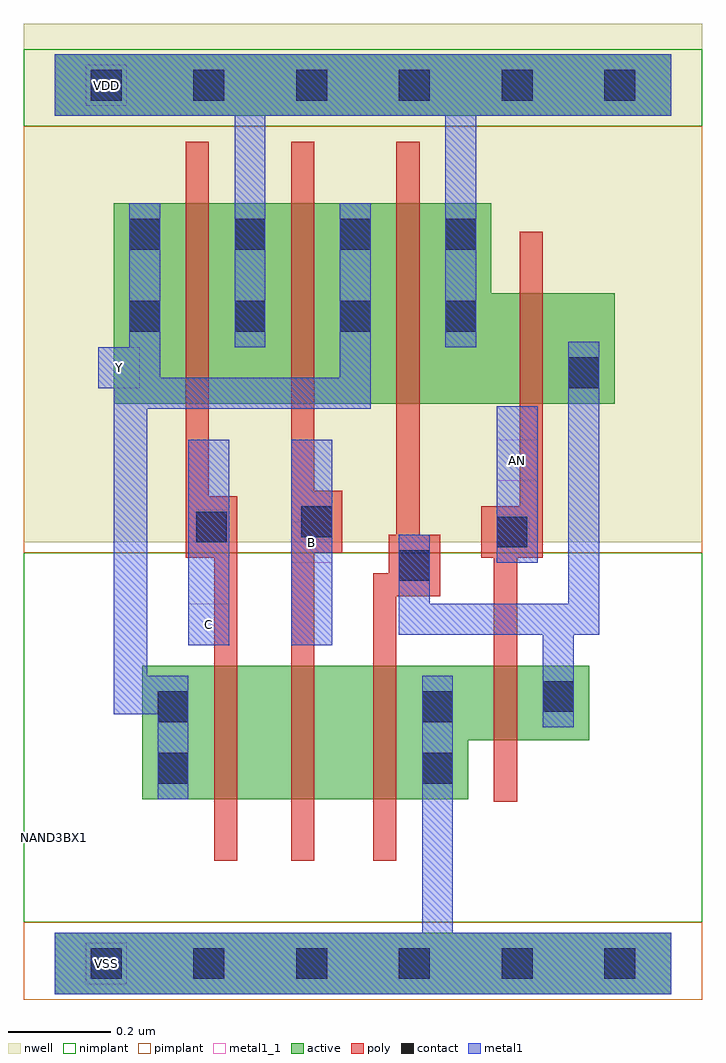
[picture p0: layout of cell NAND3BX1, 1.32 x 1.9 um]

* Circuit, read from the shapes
.subckt NAND3BX1 AN B C VDD VSS Y
M1 n1 C Y VSS nfet w=0.26u l=0.045u
M2 n2 B n1 VSS nfet w=0.26u l=0.045u
M3 VSS n3 n2 VSS nfet w=0.26u l=0.045u
M4 n3 AN VSS VSS nfet w=0.145u l=0.045u
M5 VDD C Y VDD pfet w=0.39u l=0.045u
M6 Y B VDD VDD pfet w=0.39u l=0.045u
M7 VDD n3 Y VDD pfet w=0.39u l=0.045u
M8 n3 AN VDD VDD pfet w=0.215u l=0.045u
.ends

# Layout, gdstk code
import gdstk
lib = gdstk.Library(unit=1e-6, precision=5e-10)
def R(c, l, rs):  # rectangles x0, y0, x1, y1
    for r in rs: c.add(gdstk.rectangle(r[:2], r[2:], *l))
def A(c, l, x, y, w, h, nx, ny, dx, dy):  # array of equal rectangles
    R(c, l, [(x+i*dx, y+j*dy, x+i*dx+w, y+j*dy+h) for i in range(nx) for j in range(ny)])
def P(c, l, *ps):  # polygons
    for p in ps: c.add(gdstk.Polygon(p, *l))
active = (1, 0)
nwell = (2, 0)
poly = (3, 0)
nimplant = (4, 0)
pimplant = (5, 0)
contact = (6, 0)
metal1 = (7, 0)
metal1_1 = (7, 1)

nand3bx1 = lib.new_cell('NAND3BX1')
R(nand3bx1, active, [(0,-0.06,1.2,0.06), (0,1.65,1.2,1.77)])
P(nand3bx1, active, [(1.09,1.305),(0.85,1.305),(0.85,1.48),(0.115,1.48),(0.115,1.09),(1.09,1.09)],
  [(1.04,0.58),(0.17,0.58),(0.17,0.32),(0.805,0.32),(0.805,0.435),(1.04,0.435)])
R(nand3bx1, nwell, [(-0.06,0.82,1.26,1.83)])
P(nand3bx1, poly, [(0.95,1.425),(0.905,1.425),(0.905,0.89),(0.83,0.89),(0.83,0.79),(0.855,0.79),(0.855,0.315),(0.9,0.315),(0.9,0.79),(0.95,0.79)],
  [(0.75,0.835),(0.71,0.835),(0.71,1.6),(0.665,1.6),(0.665,0.835),(0.65,0.835),(0.65,0.76),(0.62,0.76),(0.62,0.2),(0.665,0.2),(0.665,0.715),(0.75,0.715)],
  [(0.56,0.92),(0.505,0.92),(0.505,1.6),(0.46,1.6),(0.46,0.2),(0.505,0.2),(0.505,0.8),(0.56,0.8)],
  [(0.355,0.91),(0.3,0.91),(0.3,1.6),(0.255,1.6),(0.255,0.79),(0.31,0.79),(0.31,0.2),(0.355,0.2)])
R(nand3bx1, nimplant, [(-0.06,0.08,1.26,0.8), (-0.06,1.63,1.26,1.78)])
R(nand3bx1, pimplant, [(-0.06,-0.07,1.26,0.08), (-0.06,0.8,1.26,1.63)])
A(nand3bx1, contact, 0.07, -0.03, 0.06, 0.06, 6, 2, 0.2, 1.71)
A(nand3bx1, contact, 0.145, 1.23, 0.06, 0.06, 4, 2, 0.205, 0.16)
R(nand3bx1, contact, [(0.2,0.35,0.26,0.41), (0.715,0.35,0.775,0.41), (0.2,0.47,0.26,0.53), (0.715,0.47,0.775,0.53), (0.95,0.49,1.01,0.55), (0.67,0.745,0.73,0.805), (0.86,0.81,0.92,0.87), (0.275,0.82,0.335,0.88), (0.48,0.83,0.54,0.89), (1,1.12,1.06,1.18)])
R(nand3bx1, metal1, [(0.26,0.62,0.34,1.02), (0.46,0.62,0.54,1.02), (0.86,0.78,0.94,1.085)])
P(nand3bx1, metal1, [(1.2,0.06),(0.775,0.06),(0.775,0.56),(0.715,0.56),(0.715,0.06),(0,0.06),(0,-0.06),(1.2,-0.06)],
  [(1.2,1.77),(0,1.77),(0,1.65),(0.35,1.65),(0.35,1.2),(0.41,1.2),(0.41,1.65),(0.76,1.65),(0.76,1.2),(0.82,1.2),(0.82,1.65),(1.2,1.65)],
  [(1.06,1.21),(1,1.21),(1,0.7),(0.73,0.7),(0.73,0.835),(0.67,0.835),(0.67,0.64),(0.95,0.64),(0.95,0.46),(1.01,0.46),(1.01,0.64),(1.06,0.64)],
  [(0.615,1.48),(0.555,1.48),(0.555,1.14),(0.205,1.14),(0.205,1.48),(0.145,1.48),(0.145,1.2),(0.085,1.2),(0.085,1.12),(0.115,1.12),(0.115,0.485),(0.2,0.485),(0.2,0.32),(0.26,0.32),(0.26,0.56),(0.18,0.56),(0.18,1.08),(0.615,1.08)])
R(nand3bx1, metal1_1, [(0.06,-0.04,0.14,0.04), (0.26,0.62,0.34,0.7), (0.46,0.78,0.54,0.86), (0.86,0.94,0.94,1.02), (0.085,1.12,0.165,1.2), (0.06,1.67,0.14,1.75)])
nand3bx1.add(gdstk.Label('VSS', (0.1,0), layer=7, texttype=1))
nand3bx1.add(gdstk.Label('Y', (0.125,1.16), layer=7, texttype=1))
nand3bx1.add(gdstk.Label('AN', (0.9,0.98), layer=7, texttype=1))
nand3bx1.add(gdstk.Label('B', (0.5,0.82), layer=7, texttype=1))
nand3bx1.add(gdstk.Label('C', (0.3,0.66), layer=7, texttype=1))
nand3bx1.add(gdstk.Label('VDD', (0.1,1.71), layer=7, texttype=1))
nand3bx1.add(gdstk.Label('NAND3BX1', (0,0.245), layer=63, texttype=0))

lib.write_gds('NAND3BX1.gds')
